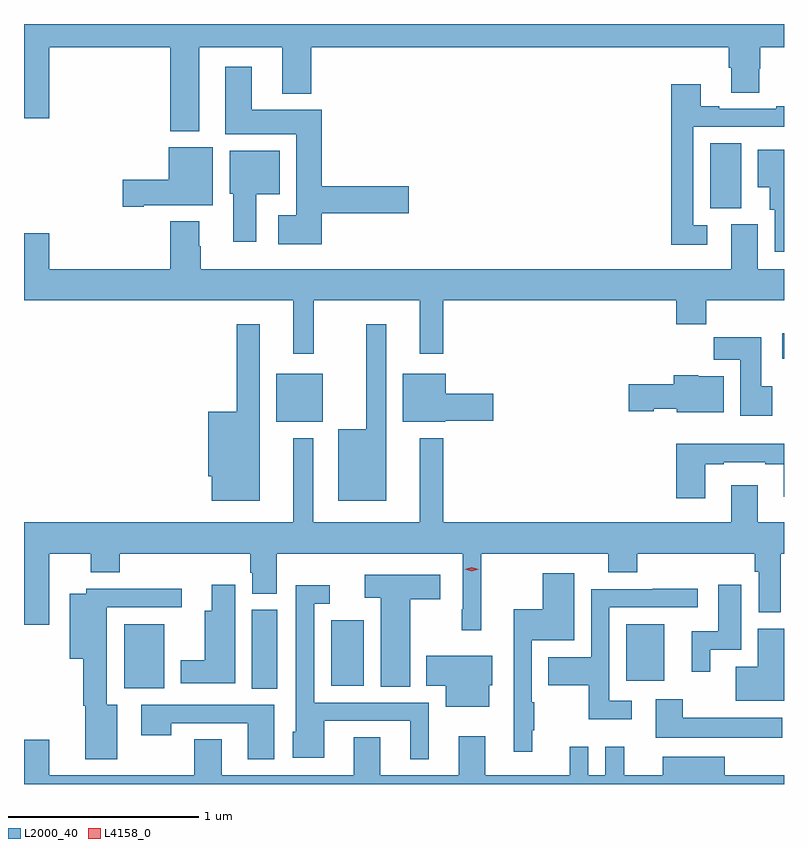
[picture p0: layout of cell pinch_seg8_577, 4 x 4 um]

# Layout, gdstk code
import gdstk
lib = gdstk.Library(unit=1e-6, precision=1e-09)
def R(c, l, rs):  # rectangles x0, y0, x1, y1
    for r in rs: c.add(gdstk.rectangle(r[:2], r[2:], *l))
def P(c, l, *ps):  # polygons
    for p in ps: c.add(gdstk.Polygon(p, *l))
L2000_40 = (2000, 40)
L4158_0 = (4158, 0)

pinch_seg8_577 = lib.new_cell('pinch_seg8_577')
R(pinch_seg8_577, L2000_40, [(130.274,1083.82,130.408,1084.236), (129.602,1083.824,129.814,1084.159), (130.691,1083.836,130.864,1084.18), (132.245,1083.863,132.445,1084.159), (130.403,1085.225,130.648,1085.479), (133.065,1085.558,133.075,1085.692), (132.686,1086.349,132.85,1086.692)])
P(pinch_seg8_577, L2000_40, [(129.997,1087.196),(130.433,1087.196),(130.433,1086.953),(130.586,1086.953),(130.586,1087.196),(132.785,1087.196),(132.785,1087.09),(132.797,1087.09),(132.797,1086.958),(132.945,1086.958),(132.945,1087.083),(132.95,1087.083),(132.95,1087.196),(133.075,1087.196),(133.075,1087.319),(129.075,1087.319),(129.075,1086.822),(129.208,1086.822),(129.208,1087.196),(129.845,1087.196),(129.845,1086.755),(129.997,1086.755)],
  [(130.643,1086.322),(131.101,1086.322),(131.101,1086.464),(130.643,1086.464),(130.643,1086.868),(130.273,1086.868),(130.273,1087.093),(130.133,1087.093),(130.133,1086.74),(130.508,1086.74),(130.508,1086.313),(130.413,1086.313),(130.413,1086.161),(130.643,1086.161)],
  [(132.67,1086.261),(132.597,1086.261),(132.597,1086.777),(133.075,1086.777),(133.075,1086.886),(133.033,1086.886),(133.033,1086.873),(132.733,1086.873),(132.733,1086.886),(132.637,1086.886),(132.637,1087.003),(132.481,1087.003),(132.481,1086.156),(132.67,1086.156)],
  [(129.706,1086.365),(130.069,1086.365),(130.069,1086.67),(129.836,1086.67),(129.836,1086.5),(129.594,1086.5),(129.594,1086.358),(129.706,1086.358)],
  [(133.075,1086.658),(132.938,1086.658),(132.938,1086.461),(133.001,1086.461),(133.001,1086.342),(133.026,1086.342),(133.026,1086.12),(133.075,1086.12)],
  [(130.297,1086.422),(130.42,1086.422),(130.42,1086.652),(130.157,1086.652),(130.157,1086.426),(130.175,1086.426),(130.175,1086.174),(130.297,1086.174)],
  [(130.6,1085.864),(131.159,1085.864),(131.159,1085.583),(131.281,1085.583),(131.281,1085.864),(132.509,1085.864),(132.509,1085.74),(132.665,1085.74),(132.665,1085.864),(133.075,1085.864),(133.075,1086.028),(132.937,1086.028),(132.937,1086.264),(132.797,1086.264),(132.797,1086.028),(130.005,1086.028),(130.005,1086.149),(129.997,1086.149),(129.997,1086.28),(129.845,1086.28),(129.845,1086.028),(129.208,1086.028),(129.208,1086.217),(129.075,1086.217),(129.075,1085.864),(130.493,1085.864),(130.493,1085.583),(130.6,1085.583)],
  [(130.981,1085.74),(130.875,1085.74),(130.875,1085.527),(130.877,1085.527),(130.877,1085.185),(130.73,1085.185),(130.73,1084.811),(130.981,1084.811)],
  [(130.315,1085.74),(130.194,1085.74),(130.194,1085.278),(130.046,1085.278),(130.046,1084.938),(130.064,1084.938),(130.064,1084.811),(130.315,1084.811)],
  [(133.012,1085.412),(132.955,1085.412),(132.955,1085.671),(132.706,1085.671),(132.706,1085.552),(132.845,1085.552),(132.845,1085.256),(133.012,1085.256)],
  [(131.292,1085.231),(131.545,1085.231),(131.545,1085.373),(131.296,1085.373),(131.296,1085.479),(131.069,1085.479),(131.069,1085.225),(131.292,1085.225)],
  [(132.757,1085.464),(132.624,1085.464),(132.624,1085.47),(132.494,1085.47),(132.494,1085.424),(132.258,1085.424),(132.258,1085.282),(132.39,1085.282),(132.39,1085.294),(132.51,1085.294),(132.51,1085.276),(132.757,1085.276)],
  [(131.385,1084.24),(131.38,1084.24),(131.38,1084.128),(131.482,1084.128),(131.482,1084.532),(132.149,1084.532),(132.149,1084.433),(132.302,1084.433),(132.302,1084.532),(132.922,1084.532),(132.922,1084.436),(132.942,1084.436),(132.942,1084.224),(133.058,1084.224),(133.058,1084.532),(133.075,1084.532),(133.075,1084.696),(132.937,1084.696),(132.937,1084.891),(132.797,1084.891),(132.797,1084.696),(131.281,1084.696),(131.281,1085.14),(131.159,1085.14),(131.159,1084.696),(130.597,1084.696),(130.597,1085.14),(130.493,1085.14),(130.493,1084.696),(129.075,1084.696),(129.075,1084.158),(129.208,1084.158),(129.208,1084.532),(129.425,1084.532),(129.425,1084.433),(129.578,1084.433),(129.578,1084.532),(130.265,1084.532),(130.265,1084.431),(130.277,1084.431),(130.277,1084.321),(130.405,1084.321),(130.405,1084.532),(131.385,1084.532)],
  [(132.661,1085.001),(132.757,1085.001),(132.757,1085.013),(132.977,1085.013),(132.977,1085.001),(133.073,1085.001),(133.073,1084.832),(133.075,1084.832),(133.075,1085.11),(132.509,1085.11),(132.509,1084.824),(132.661,1084.824)],
  [(131.75,1083.601),(131.761,1083.601),(131.761,1083.749),(131.748,1083.749),(131.748,1084.076),(131.971,1084.076),(131.971,1084.429),(131.806,1084.429),(131.806,1084.239),(131.652,1084.239),(131.652,1083.489),(131.75,1083.489)],
  [(131.107,1084.291),(131.266,1084.291),(131.266,1084.42),(130.869,1084.42),(130.869,1084.298),(130.952,1084.298),(130.952,1083.832),(131.107,1083.832)],
  [(132.688,1084.026),(132.85,1084.026),(132.85,1084.369),(132.728,1084.369),(132.728,1084.122),(132.59,1084.122),(132.59,1083.909),(132.688,1083.909)],
  [(130.186,1084.369),(130.064,1084.369),(130.064,1084.231),(130.025,1084.231),(130.025,1083.97),(129.899,1083.97),(129.899,1083.848),(130.186,1083.848)],
  [(131.206,1083.747),(130.602,1083.747),(130.602,1084.269),(130.684,1084.269),(130.684,1084.366),(130.506,1084.366),(130.506,1083.594),(130.49,1083.594),(130.49,1083.458),(130.654,1083.458),(130.654,1083.651),(131.108,1083.651),(131.108,1083.45),(131.206,1083.45)],
  [(132.274,1083.756),(132.156,1083.756),(132.156,1084.248),(132.622,1084.248),(132.622,1084.346),(132.385,1084.346),(132.385,1084.344),(132.06,1084.344),(132.06,1083.985),(131.833,1083.985),(131.833,1083.838),(132.048,1083.838),(132.048,1083.659),(132.274,1083.659)],
  [(129.565,1083.736),(129.511,1083.736),(129.511,1084.248),(129.904,1084.248),(129.904,1084.346),(129.402,1084.346),(129.402,1084.321),(129.317,1084.321),(129.317,1083.977),(129.386,1083.977),(129.386,1083.732),(129.398,1083.732),(129.398,1083.45),(129.565,1083.45)],
  [(133.075,1084.135),(132.938,1084.135),(132.938,1083.937),(132.821,1083.937),(132.821,1083.758),(133.075,1083.758)],
  [(131.524,1083.84),(131.539,1083.84),(131.539,1083.994),(131.192,1083.994),(131.192,1083.836),(131.294,1083.836),(131.294,1083.725),(131.524,1083.725)],
  [(133.066,1083.667),(132.541,1083.667),(132.541,1083.766),(132.401,1083.766),(132.401,1083.563),(133.066,1083.563)],
  [(130.393,1083.735),(129.693,1083.735),(129.693,1083.576),(129.849,1083.576),(129.849,1083.639),(130.253,1083.639),(130.253,1083.45),(130.393,1083.45)],
  [(133.075,1083.364),(132.763,1083.364),(132.763,1083.463),(132.437,1083.463),(132.437,1083.364),(132.233,1083.364),(132.233,1083.514),(132.135,1083.514),(132.135,1083.364),(132.045,1083.364),(132.045,1083.514),(131.948,1083.514),(131.948,1083.364),(131.503,1083.364),(131.503,1083.571),(131.363,1083.571),(131.363,1083.364),(130.951,1083.364),(130.951,1083.566),(130.811,1083.566),(130.811,1083.364),(130.117,1083.364),(130.117,1083.554),(129.97,1083.554),(129.97,1083.364),(129.208,1083.364),(129.208,1083.553),(129.075,1083.553),(129.075,1083.319),(133.075,1083.319)])
P(pinch_seg8_577, L4158_0, [(131.432,1084.439),(131.396,1084.449),(131.396,1084.449),(131.396,1084.449),(131.432,1084.459),(131.468,1084.449),(131.468,1084.449),(131.468,1084.449)])

lib.write_gds('pinch_seg8_577.gds')
